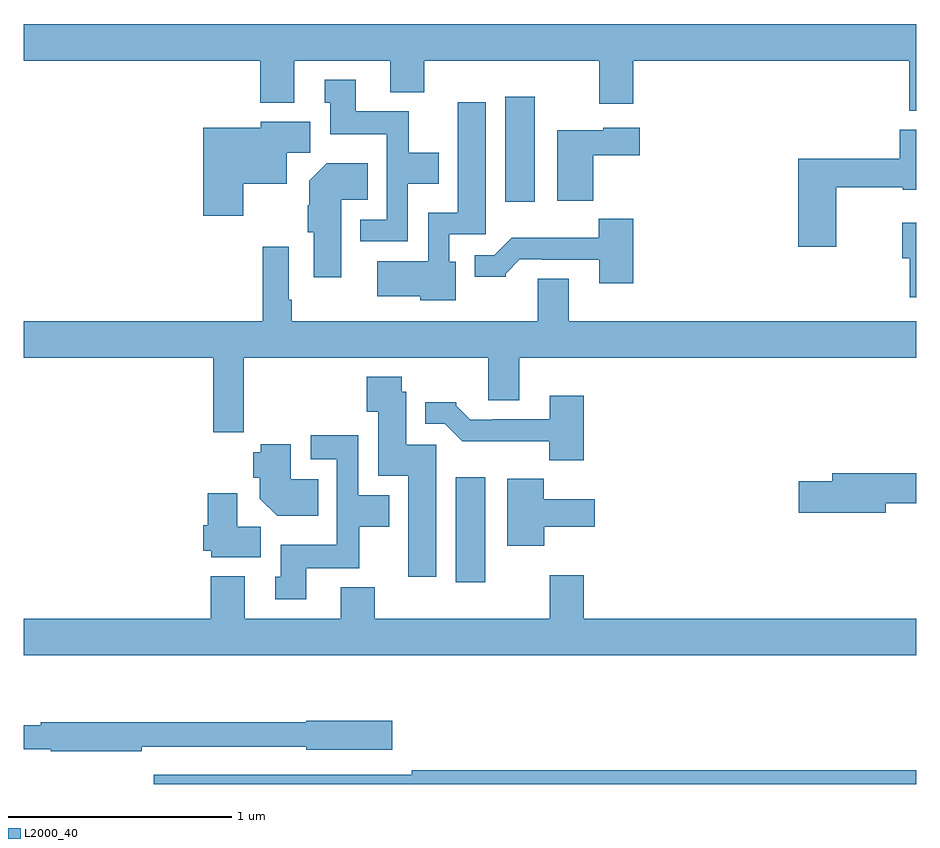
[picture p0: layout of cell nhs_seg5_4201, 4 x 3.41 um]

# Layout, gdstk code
import gdstk
lib = gdstk.Library(unit=1e-6, precision=1e-09)
def R(c, l, rs):  # rectangles x0, y0, x1, y1
    for r in rs: c.add(gdstk.rectangle(r[:2], r[2:], *l))
def P(c, l, *ps):  # polygons
    for p in ps: c.add(gdstk.Polygon(p, *l))
L2000_40 = (2000, 40)

nhs_seg5_4201 = lib.new_cell('nhs_seg5_4201')
R(nhs_seg5_4201, L2000_40, [(358.937,907.704,359.068,908.173), (359.159,909.408,359.29,909.877)])
P(nhs_seg5_4201, L2000_40, [(361,910.204),(357,910.204),(357,910.04),(358.061,910.04),(358.061,909.851),(358.213,909.851),(358.213,910.04),(358.643,910.04),(358.643,909.899),(358.796,909.899),(358.796,910.04),(359.579,910.04),(359.579,909.846),(359.732,909.846),(359.732,910.04),(360.967,910.04),(360.967,909.815),(361,909.815)],
  [(358.722,909.488),(358.861,909.488),(358.861,909.628),(358.725,909.628),(358.725,909.814),(358.489,909.814),(358.489,909.955),(358.349,909.955),(358.349,909.852),(358.373,909.852),(358.373,909.71),(358.626,909.71),(358.626,909.327),(358.509,909.327),(358.509,909.231),(358.722,909.231)],
  [(358.936,909.138),(358.908,909.138),(358.908,909.261),(359.071,909.261),(359.071,909.853),(358.946,909.853),(358.946,909.358),(358.812,909.358),(358.812,909.142),(358.584,909.142),(358.584,908.984),(358.776,908.984),(358.776,908.966),(358.936,908.966)],
  [(357.984,909.488),(358.18,909.488),(358.18,909.628),(358.285,909.628),(358.285,909.766),(358.062,909.766),(358.062,909.739),(357.806,909.739),(357.806,909.345),(357.984,909.345)],
  [(359.552,909.617),(359.761,909.617),(359.761,909.739),(359.598,909.739),(359.598,909.727),(359.39,909.727),(359.39,909.413),(359.552,909.413)],
  [(360.64,909.472),(360.938,909.472),(360.938,909.461),(361,909.461),(361,909.73),(360.926,909.73),(360.926,909.601),(360.47,909.601),(360.47,909.207),(360.64,909.207)],
  [(358.423,909.416),(358.541,909.416),(358.541,909.58),(358.358,909.58),(358.28,909.502),(358.28,909.392),(358.273,909.392),(358.273,909.27),(358.301,909.27),(358.301,909.069),(358.423,909.069)],
  [(359.732,909.331),(359.577,909.331),(359.577,909.247),(359.188,909.247),(359.109,909.168),(359.021,909.168),(359.021,909.071),(359.16,909.071),(359.16,909.086),(359.224,909.15),(359.323,909.15),(359.323,909.147),(359.579,909.147),(359.579,909.042),(359.732,909.042)],
  [(361,909.313),(360.936,909.313),(360.936,909.155),(360.97,909.155),(360.97,908.979),(361,908.979)],
  [(357.986,908.708),(359.081,908.708),(359.081,908.518),(359.221,908.518),(359.221,908.708),(361,908.708),(361,908.872),(359.443,908.872),(359.443,909.062),(359.303,909.062),(359.303,908.872),(358.201,908.872),(358.201,908.968),(358.188,908.968),(358.188,909.205),(358.072,909.205),(358.072,908.872),(357,908.872),(357,908.708),(357.85,908.708),(357.85,908.376),(357.986,908.376)],
  [(358.849,908.319),(358.714,908.319),(358.714,908.556),(358.695,908.556),(358.695,908.623),(358.538,908.623),(358.538,908.467),(358.589,908.467),(358.589,908.18),(358.724,908.18),(358.724,907.728),(358.849,907.728)],
  [(359.51,908.539),(359.357,908.539),(359.357,908.433),(359.101,908.433),(359.101,908.43),(359.002,908.43),(358.938,908.494),(358.938,908.509),(358.799,908.509),(358.799,908.412),(358.887,908.412),(358.966,908.334),(359.355,908.334),(359.355,908.249),(359.51,908.249)],
  [(358.267,907.766),(358.503,907.766),(358.503,907.952),(358.639,907.952),(358.639,908.092),(358.5,908.092),(358.5,908.362),(358.287,908.362),(358.287,908.253),(358.404,908.253),(358.404,907.87),(358.151,907.87),(358.151,907.728),(358.127,907.728),(358.127,907.626),(358.267,907.626)],
  [(358.319,908.164),(358.198,908.164),(358.198,908.322),(358.062,908.322),(358.062,908.286),(358.028,908.286),(358.028,908.172),(358.058,908.172),(358.058,908.078),(358.136,908),(358.319,908)],
  [(360.862,908.056),(361,908.056),(361,908.192),(360.623,908.192),(360.623,908.156),(360.474,908.156),(360.474,908.014),(360.862,908.014)],
  [(359.332,907.952),(359.56,907.952),(359.56,908.074),(359.33,908.074),(359.33,908.167),(359.168,908.167),(359.168,907.866),(359.332,907.866)],
  [(358.063,907.952),(357.958,907.952),(357.958,908.101),(357.824,908.101),(357.824,907.959),(357.806,907.959),(357.806,907.845),(357.84,907.845),(357.84,907.814),(358.063,907.814)],
  [(361,907.54),(359.51,907.54),(359.51,907.735),(359.357,907.735),(359.357,907.54),(358.574,907.54),(358.574,907.681),(358.421,907.681),(358.421,907.54),(357.991,907.54),(357.991,907.729),(357.839,907.729),(357.839,907.54),(357,907.54),(357,907.376),(361,907.376)],
  [(357.53,906.966),(358.266,906.966),(358.266,906.953),(358.651,906.953),(358.651,907.083),(358.266,907.083),(358.266,907.075),(357.076,907.075),(357.076,907.062),(357,907.062),(357,906.954),(357.122,906.954),(357.122,906.946),(357.53,906.946)],
  [(361,906.86),(358.738,906.86),(358.738,906.84),(357.584,906.84),(357.584,906.799),(361,906.799)])

lib.write_gds('nhs_seg5_4201.gds')
